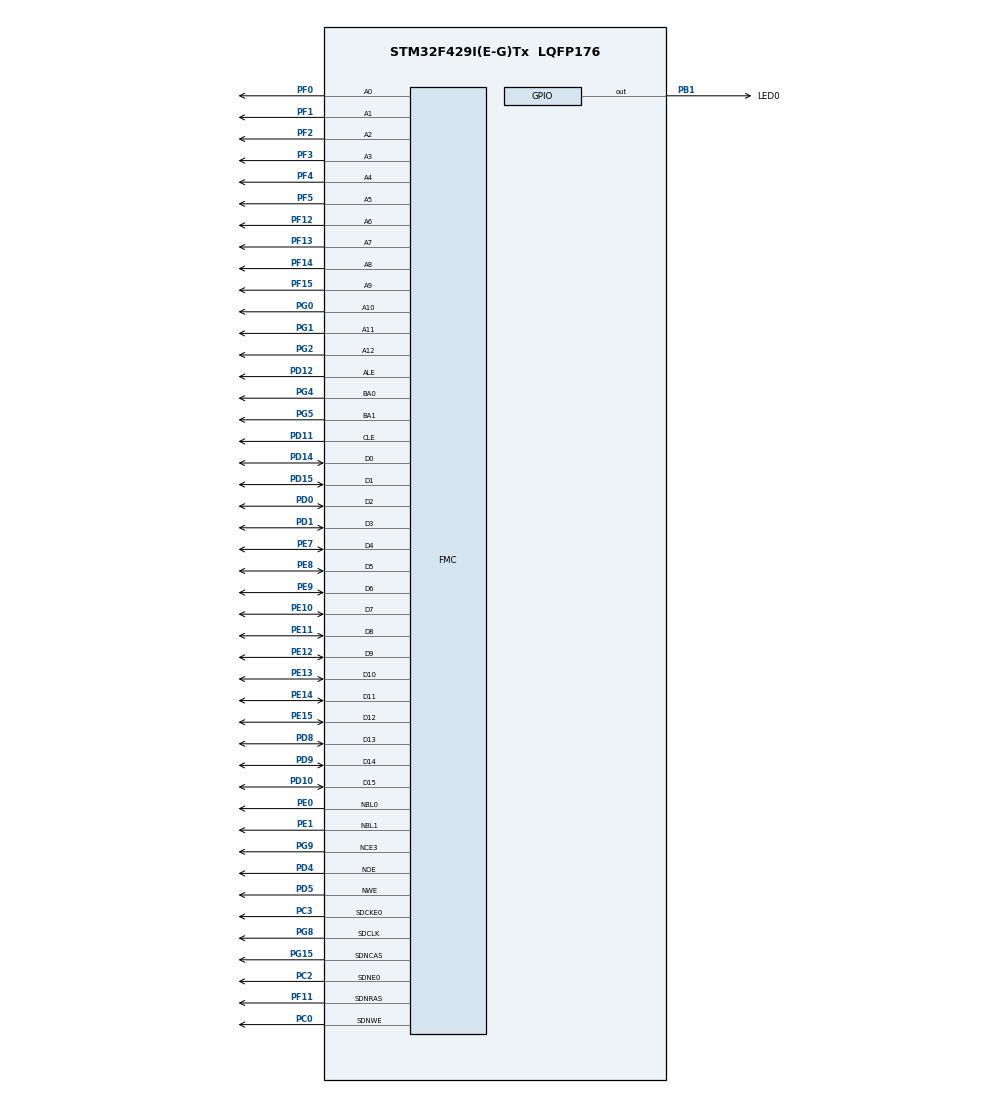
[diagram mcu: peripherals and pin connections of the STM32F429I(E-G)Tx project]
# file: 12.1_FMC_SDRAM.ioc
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FMC.CASLatency1=FMC_SDRAM_CAS_LATENCY_3
FMC.ColumnBitsNumber1=FMC_SDRAM_COLUMN_BITS_NUM_9
FMC.ExitSelfRefreshDelay1=7
FMC.LoadToActiveDelay1=2
FMC.RCDDelay1=2
FMC.RPDelay1=2
FMC.ReadBurst1=FMC_SDRAM_RBURST_ENABLE
FMC.ReadPipeDelay1=FMC_SDRAM_RPIPE_DELAY_1
FMC.RowCycleDelay1=6
FMC.SDClockPeriod1=FMC_SDRAM_CLOCK_PERIOD_2
FMC.SelfRefreshTime1=4
FMC.WriteProtection1=FMC_SDRAM_WRITE_PROTECTION_DISABLE
FMC.WriteRecoveryTime1=2
Mcu.Family=STM32F4
Mcu.Name=STM32F429I(E-G)Tx
Mcu.Package=LQFP176
NVIC.PriorityGroup=NVIC_PRIORITYGROUP_4
PA13.Mode=Trace_Asynchronous_SW
PA13.Signal=SYS_JTMS-SWDIO
PA14.Mode=Trace_Asynchronous_SW
PA14.Signal=SYS_JTCK-SWCLK
PB1.GPIO_Label=LED0
PB1.GPIO_PuPd=GPIO_PULLUP
PB1.PinState=GPIO_PIN_SET
PB1.Signal=GPIO_Output
PB3.Mode=Trace_Asynchronous_SW
PB3.Signal=SYS_JTDO-SWO
PC0.GPIO_PuPd=GPIO_PULLUP
PC0.Signal=FMC_SDNWE
PC14/OSC32_IN.Mode=LSE-External-Oscillator
PC14/OSC32_IN.Signal=RCC_OSC32_IN
PC15/OSC32_OUT.Mode=LSE-External-Oscillator
PC15/OSC32_OUT.Signal=RCC_OSC32_OUT
PC2.GPIO_PuPd=GPIO_PULLUP
PC2.Mode=SdramChipSelect1_1
PC2.Signal=FMC_SDNE0
PC3.GPIO_PuPd=GPIO_PULLUP
PC3.Mode=SdramChipSelect1_1
PC3.Signal=FMC_SDCKE0
PD0.GPIO_PuPd=GPIO_PULLUP
PD0.Signal=FMC_D2_DA2
PD1.GPIO_PuPd=GPIO_PULLUP
PD1.Signal=FMC_D3_DA3
PD10.GPIO_PuPd=GPIO_PULLUP
PD10.Signal=FMC_D15_DA15
PD11.Signal=FMC_A16_CLE
PD12.Signal=FMC_A17_ALE
PD14.GPIO_PuPd=GPIO_PULLUP
PD14.Signal=FMC_D0_DA0
PD15.GPIO_PuPd=GPIO_PULLUP
PD15.Signal=FMC_D1_DA1
PD4.Signal=FMC_NOE
PD5.Signal=FMC_NWE
PD8.GPIO_PuPd=GPIO_PULLUP
PD8.Signal=FMC_D13_DA13
PD9.GPIO_PuPd=GPIO_PULLUP
PD9.Signal=FMC_D14_DA14
PE0.GPIO_PuPd=GPIO_PULLUP
PE0.Signal=FMC_NBL0
PE1.GPIO_PuPd=GPIO_PULLUP
PE1.Signal=FMC_NBL1
PE10.GPIO_PuPd=GPIO_PULLUP
PE10.Signal=FMC_D7_DA7
PE11.GPIO_PuPd=GPIO_PULLUP
PE11.Signal=FMC_D8_DA8
PE12.GPIO_PuPd=GPIO_PULLUP
PE12.Signal=FMC_D9_DA9
PE13.GPIO_PuPd=GPIO_PULLUP
PE13.Signal=FMC_D10_DA10
PE14.GPIO_PuPd=GPIO_PULLUP
PE14.Signal=FMC_D11_DA11
PE15.GPIO_PuPd=GPIO_PULLUP
PE15.Signal=FMC_D12_DA12
PE7.GPIO_PuPd=GPIO_PULLUP
PE7.Signal=FMC_D4_DA4
PE8.GPIO_PuPd=GPIO_PULLUP
PE8.Signal=FMC_D5_DA5
PE9.GPIO_PuPd=GPIO_PULLUP
PE9.Signal=FMC_D6_DA6
PF0.GPIO_PuPd=GPIO_PULLUP
PF0.Signal=FMC_A0
PF1.GPIO_PuPd=GPIO_PULLUP
PF1.Signal=FMC_A1
PF11.GPIO_PuPd=GPIO_PULLUP
PF11.Signal=FMC_SDNRAS
PF12.GPIO_PuPd=GPIO_PULLUP
PF12.Signal=FMC_A6
PF13.GPIO_PuPd=GPIO_PULLUP
PF13.Signal=FMC_A7
PF14.GPIO_PuPd=GPIO_PULLUP
PF14.Signal=FMC_A8
PF15.GPIO_PuPd=GPIO_PULLUP
PF15.Signal=FMC_A9
PF2.GPIO_PuPd=GPIO_PULLUP
PF2.Signal=FMC_A2
PF3.GPIO_PuPd=GPIO_PULLUP
PF3.Signal=FMC_A3
PF4.GPIO_PuPd=GPIO_PULLUP
PF4.Signal=FMC_A4
PF5.GPIO_PuPd=GPIO_PULLUP
PF5.Signal=FMC_A5
PG0.GPIO_PuPd=GPIO_PULLUP
PG0.Signal=FMC_A10
PG1.GPIO_PuPd=GPIO_PULLUP
PG1.Signal=FMC_A11
PG15.GPIO_PuPd=GPIO_PULLUP
PG15.Signal=FMC_SDNCAS
PG2.GPIO_PuPd=GPIO_PULLUP
PG2.Signal=FMC_A12
PG4.GPIO_PuPd=GPIO_PULLUP
PG4.Signal=FMC_A14_BA0
PG5.GPIO_PuPd=GPIO_PULLUP
PG5.Signal=FMC_A15_BA1
PG8.GPIO_PuPd=GPIO_PULLUP
PG8.Signal=FMC_SDCLK
PG9.Mode=NandChipSelect3_1
PG9.Signal=FMC_NCE3
PH0/OSC_IN.Mode=HSE-External-Oscillator
PH0/OSC_IN.Signal=RCC_OSC_IN
PH1/OSC_OUT.Mode=HSE-External-Oscillator
PH1/OSC_OUT.Signal=RCC_OSC_OUT
ProjectManager.HeapSize=0x200
ProjectManager.StackSize=0x400
ProjectManager.TargetToolchain=STM32CubeIDE
RCC.48MHZClocksFreq_Value=90000000
RCC.AHBFreq_Value=180000000
RCC.APB1CLKDivider=RCC_HCLK_DIV4
RCC.APB1Freq_Value=45000000
RCC.APB1TimFreq_Value=90000000
RCC.APB2CLKDivider=RCC_HCLK_DIV2
RCC.APB2Freq_Value=90000000
RCC.APB2TimFreq_Value=180000000
RCC.CortexFreq_Value=180000000
RCC.HCLKFreq_Value=180000000
RCC.HSE_VALUE=25000000
RCC.HSI_VALUE=16000000
RCC.PLLM=15
RCC.PLLN=216
RCC.PLLSourceVirtual=RCC_PLLSOURCE_HSE
RCC.SYSCLKFreq_VALUE=180000000
RCC.SYSCLKSource=RCC_SYSCLKSOURCE_PLLCLK
RCC.VCOOutputFreq_Value=360000000
SH.FMC_A0.0=FMC_A0,13b-sda1
SH.FMC_A1.0=FMC_A1,13b-sda1
SH.FMC_A10.0=FMC_A10,13b-sda1
SH.FMC_A11.0=FMC_A11,13b-sda1
SH.FMC_A12.0=FMC_A12,13b-sda1
SH.FMC_A14_BA0.0=FMC_BA0,FourSdramBanks1
SH.FMC_A15_BA1.0=FMC_BA1,FourSdramBanks1
SH.FMC_A16_CLE.0=FMC_CLE,16b-dmux1
SH.FMC_A17_ALE.0=FMC_ALE,16b-dmux1
SH.FMC_A2.0=FMC_A2,13b-sda1
SH.FMC_A3.0=FMC_A3,13b-sda1
SH.FMC_A4.0=FMC_A4,13b-sda1
SH.FMC_A5.0=FMC_A5,13b-sda1
SH.FMC_A6.0=FMC_A6,13b-sda1
SH.FMC_A7.0=FMC_A7,13b-sda1
SH.FMC_A8.0=FMC_A8,13b-sda1
SH.FMC_A9.0=FMC_A9,13b-sda1
SH.FMC_D0_DA0.0=FMC_D0,sd-16b-d1
SH.FMC_D0_DA0.1=FMC_D0,16b-dmux1
SH.FMC_D10_DA10.0=FMC_D10,sd-16b-d1
SH.FMC_D10_DA10.1=FMC_D10,16b-dmux1
SH.FMC_D11_DA11.0=FMC_D11,sd-16b-d1
SH.FMC_D11_DA11.1=FMC_D11,16b-dmux1
SH.FMC_D12_DA12.0=FMC_D12,sd-16b-d1
SH.FMC_D12_DA12.1=FMC_D12,16b-dmux1
SH.FMC_D13_DA13.0=FMC_D13,sd-16b-d1
SH.FMC_D13_DA13.1=FMC_D13,16b-dmux1
SH.FMC_D14_DA14.0=FMC_D14,sd-16b-d1
SH.FMC_D14_DA14.1=FMC_D14,16b-dmux1
SH.FMC_D15_DA15.0=FMC_D15,sd-16b-d1
SH.FMC_D15_DA15.1=FMC_D15,16b-dmux1
SH.FMC_D1_DA1.0=FMC_D1,sd-16b-d1
SH.FMC_D1_DA1.1=FMC_D1,16b-dmux1
SH.FMC_D2_DA2.0=FMC_D2,sd-16b-d1
SH.FMC_D2_DA2.1=FMC_D2,16b-dmux1
SH.FMC_D3_DA3.0=FMC_D3,sd-16b-d1
SH.FMC_D3_DA3.1=FMC_D3,16b-dmux1
SH.FMC_D4_DA4.0=FMC_D4,sd-16b-d1
SH.FMC_D4_DA4.1=FMC_D4,16b-dmux1
SH.FMC_D5_DA5.0=FMC_D5,sd-16b-d1
SH.FMC_D5_DA5.1=FMC_D5,16b-dmux1
SH.FMC_D6_DA6.0=FMC_D6,sd-16b-d1
SH.FMC_D6_DA6.1=FMC_D6,16b-dmux1
SH.FMC_D7_DA7.0=FMC_D7,sd-16b-d1
SH.FMC_D7_DA7.1=FMC_D7,16b-dmux1
SH.FMC_D8_DA8.0=FMC_D8,sd-16b-d1
SH.FMC_D8_DA8.1=FMC_D8,16b-dmux1
SH.FMC_D9_DA9.0=FMC_D9,sd-16b-d1
SH.FMC_D9_DA9.1=FMC_D9,16b-dmux1
SH.FMC_NBL0.0=FMC_NBL0,Sd2ByteEnable1
SH.FMC_NBL1.0=FMC_NBL1,Sd2ByteEnable1
SH.FMC_NOE.0=FMC_NOE,16b-dmux1
SH.FMC_NWE.0=FMC_NWE,16b-dmux1
SH.FMC_SDCLK.0=FMC_SDCLK,13b-sda1
SH.FMC_SDNCAS.0=FMC_SDNCAS,13b-sda1
SH.FMC_SDNRAS.0=FMC_SDNRAS,13b-sda1
SH.FMC_SDNWE.0=FMC_SDNWE,13b-sda1
board=custom

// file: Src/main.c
/* USER CODE BEGIN Header */
/**
 ******************************************************************************
 * @file           : main.c
 * @brief          : Main program body
 ******************************************************************************
 * @attention
 *
 * <h2><center>&copy; Copyright (c) 2019 STMicroelectronics.
 * All rights reserved.</center></h2>
 *
 * This software component is licensed by ST under BSD 3-Clause license,
 * the "License"; You may not use this file except in compliance with the
 * License. You may obtain a copy of the License at:
 *                        opensource.org/licenses/BSD-3-Clause
 *
 ******************************************************************************
 */
/* USER CODE END Header */

#include "main.h"
#include "gpio.h"
#include "fmc.h"

/* USER CODE BEGIN Includes */
#include <stdio.h>

/* USER CODE END Includes */

/* USER CODE BEGIN PD */

#define SDRAM_BANK_ADDR     ((uint32_t)0XC0000000)
#define WRITE_READ_ADDR     ((uint32_t)0x0800)
#define SDRAM_SIZE 	8*1024*1024
//#define SDRAM_BANK_ADDR 0xC0000000
/* USER CODE END PD */

/* USER CODE BEGIN PV */

uint32_t SDRAM_BUF[SDRAM_SIZE] __attribute__((section(".ExtRAMData2"))); // 1024 * 1024 /4    //1MB / 4

/*
 #if (defined ( __CC_ARM ))
 U32 aMemory[GUI_NUMBYTES / 4] __attribute__((at(MEM_BASE)));
 #elif (defined (__ICCARM__))
 #pragma location = MEM_BASE
 __no_init U32 aMemory[GUI_NUMBYTES / 4];
 #elif defined ( __GNUC__ )
 U32 aMemory[GUI_NUMBYTES / 4] __attribute__((section(".ExtRAMData1")));
 #endif

 __CC_ARM 	-->  U32 aMemory[GUI_NUMBYTES / 4] __attribute__((at(MEM_BASE)));
 __ICCARM__ 	-->  _no_init U32 aMemory[GUI_NUMBYTES / 4];
 __GNUC__ 	-->  aMemory[GUI_NUMBYTES / 4] __attribute__((section(".ExtRAMData1")));

 */

/* USER CODE END PV */

void SystemClock_Config (void);
void speed_test ();

int main (void)
{

    /* MCU Configuration--------------------------------------------------------*/

    /* Reset of all peripherals, Initializes the Flash interface and the Systick. */
    HAL_Init ();

    /* Configure the system clock */
    SystemClock_Config ();

    /* Initialize all configured peripherals */
    MX_GPIO_Init ();
    MX_FMC_Init ();
    /* USER CODE BEGIN 2 */
    SDRAM_Init ();
    printf ("Start\r\n");

    HAL_GPIO_TogglePin (LED0_GPIO_Port, LED0_Pin);
    HAL_Delay (100);
    HAL_GPIO_TogglePin (LED0_GPIO_Port, LED0_Pin);
    HAL_Delay (100);
    HAL_GPIO_TogglePin (LED0_GPIO_Port, LED0_Pin);
    HAL_Delay (100);
    HAL_GPIO_TogglePin (LED0_GPIO_Port, LED0_Pin);
    HAL_Delay (100);
    HAL_GPIO_TogglePin (LED0_GPIO_Port, LED0_Pin);
    HAL_Delay (100);

    speed_test ();

//    uint32_t ts = 0;
//
//    uint32_t i = 0;
//    uint32_t temp = 0;
//    uint32_t sval = 0;
//    aMemory2[1] = 0;
//    for (i = 0; i < 262144; i++)
//    {
//	aMemory[i] = i;
//	aMemory1[i] = i * 2;
//    }
//
//    for (i = 0; i < 262144; i++)
//    {
//
//	temp = aMemory[i];
//	sval = aMemory1[i];
//    }

//    printf("start at %d \r\n",HAL_GetTick());
//    for (i=0;i<8*1024*1024;i++)
//    {
//	*(__IO uint32_t*) (Bank5_SDRAM_ADDR + WRITE_READ_ADDR + i ) = 0;
//    }
//    printf("step1 at %d \r\n",HAL_GetTick());
//    for (i=0;i<8*1024*1024;i+=4)
//    {
//	*(__IO uint32_t*) (Bank5_SDRAM_ADDR + WRITE_READ_ADDR + i ) = temp;
//	temp++;
//    }
//    printf("step2 at %d \r\n",HAL_GetTick());
//    for (i=0;i<8*1024*1024;i+=4)
//    {
//	printf ("read[%d]:%d\r\n", i,*(__IO uint32_t*)(Bank5_SDRAM_ADDR+ WRITE_READ_ADDR+i));
//    }
//    printf("step3 at %d \r\n",HAL_GetTick());
    /* USER CODE END 2 */

    /* Infinite loop */
    while (1)
    {

    }
}

void SystemClock_Config (void)
{
    RCC_OscInitTypeDef RCC_OscInitStruct =
	{ 0 };
    RCC_ClkInitTypeDef RCC_ClkInitStruct =
	{ 0 };

    /** Configure the main internal regulator output voltage
     */
    __HAL_RCC_PWR_CLK_ENABLE();
    __HAL_PWR_VOLTAGESCALING_CONFIG(PWR_REGULATOR_VOLTAGE_SCALE1);
    /** Initializes the CPU, AHB and APB busses clocks
     */
    RCC_OscInitStruct.OscillatorType = RCC_OSCILLATORTYPE_HSE;
    RCC_OscInitStruct.HSEState = RCC_HSE_ON;
    RCC_OscInitStruct.PLL.PLLState = RCC_PLL_ON;
    RCC_OscInitStruct.PLL.PLLSource = RCC_PLLSOURCE_HSE;
    RCC_OscInitStruct.PLL.PLLM = 15;
    RCC_OscInitStruct.PLL.PLLN = 216;
    RCC_OscInitStruct.PLL.PLLP = RCC_PLLP_DIV2;
    RCC_OscInitStruct.PLL.PLLQ = 4;
    if (HAL_RCC_OscConfig (&RCC_OscInitStruct) != HAL_OK)
    {
	Error_Handler ();
    }
    /** Activate the Over-Drive mode
     */
    if (HAL_PWREx_EnableOverDrive () != HAL_OK)
    {
	Error_Handler ();
    }
    /** Initializes the CPU, AHB and APB busses clocks
     */
    RCC_ClkInitStruct.ClockType = RCC_CLOCKTYPE_HCLK | RCC_CLOCKTYPE_SYSCLK | RCC_CLOCKTYPE_PCLK1 | RCC_CLOCKTYPE_PCLK2;
    RCC_ClkInitStruct.SYSCLKSource = RCC_SYSCLKSOURCE_PLLCLK;
    RCC_ClkInitStruct.AHBCLKDivider = RCC_SYSCLK_DIV1;
    RCC_ClkInitStruct.APB1CLKDivider = RCC_HCLK_DIV4;
    RCC_ClkInitStruct.APB2CLKDivider = RCC_HCLK_DIV2;

    if (HAL_RCC_ClockConfig (&RCC_ClkInitStruct, FLASH_LATENCY_5) != HAL_OK)
    {
	Error_Handler ();
    }
}

/* USER CODE BEGIN 4 */

int _write (int file,char*ptr,int len)
{
    int DataIdx;
    for (DataIdx = 0; DataIdx < len; DataIdx++)
    {
	ITM_SendChar (*ptr++);
    }
    return len;
}

void speed_test ()
{
    uint32_t counter = 0;
    uint8_t ubReaddata_8b = 0;
    HAL_GPIO_WritePin (LED0_GPIO_Port, LED0_Pin, 1);
    HAL_Delay (500);
    HAL_GPIO_WritePin (LED0_GPIO_Port, LED0_Pin, 0);
    for (counter = 0x00; counter < SDRAM_SIZE; counter++)
    {
	*(__IO uint8_t*) (SDRAM_BANK_ADDR + counter) = (uint8_t) 0x0;
    }
    HAL_GPIO_WritePin (LED0_GPIO_Port, LED0_Pin, 1);

    HAL_Delay (500);
    HAL_GPIO_WritePin (LED0_GPIO_Port, LED0_Pin, 0);
    for (counter = 0x00; counter < SDRAM_SIZE; counter++)
    {
	 ubReaddata_8b = *(__IO uint8_t *)(SDRAM_BANK_ADDR + counter);
    }
    HAL_GPIO_WritePin (LED0_GPIO_Port, LED0_Pin, 1);

    HAL_Delay (500);
    HAL_GPIO_WritePin (LED0_GPIO_Port, LED0_Pin, 0);
    for (counter = 0x00; counter < SDRAM_SIZE; counter++)
    {
	ubReaddata_8b = 0x00;
    }
    HAL_GPIO_WritePin (LED0_GPIO_Port, LED0_Pin, 1);

//    for (counter = 0x00; counter < IS42S16400J_SIZE; counter++)
//    {
//	aMemory2[counter] = (uint8_t) 0x0;
//    }
//    HAL_GPIO_WritePin (LED0_GPIO_Port, LED0_Pin, 1);
//    HAL_Delay (500);
//    HAL_GPIO_WritePin (LED0_GPIO_Port, LED0_Pin, 0);
//    for (counter = 0x00; counter < IS42S16400J_SIZE; counter++)
//    {
//	aMemory2[counter] = (uint32_t) 1;
//    }
//    HAL_GPIO_WritePin (LED0_GPIO_Port, LED0_Pin, 1);
//
////    for (int32_t i = 0; i < 128000; i++)
////    {
////	test_array[i] = 1;
////    }
//    HAL_Delay (500);
//    HAL_GPIO_WritePin (LED0_GPIO_Port, LED0_Pin, 0);
//    HAL_SDRAM_Write_32b (&hsdram1, aMemory2, test_array, 128000);
//    HAL_GPIO_WritePin (LED0_GPIO_Port, LED0_Pin, 1);
//
//
//    HAL_Delay (500);
//    HAL_GPIO_WritePin (LED0_GPIO_Port, LED0_Pin, 0);
//    HAL_SDRAM_Read_32b (&hsdram1, aMemory2, test_array1, 1024*25);
//    HAL_GPIO_WritePin (LED0_GPIO_Port, LED0_Pin, 1);

}
/* USER CODE END 4 */

void Error_Handler (void)
{
}

/************************ (C) COPYRIGHT STMicroelectronics *****END OF FILE****/
